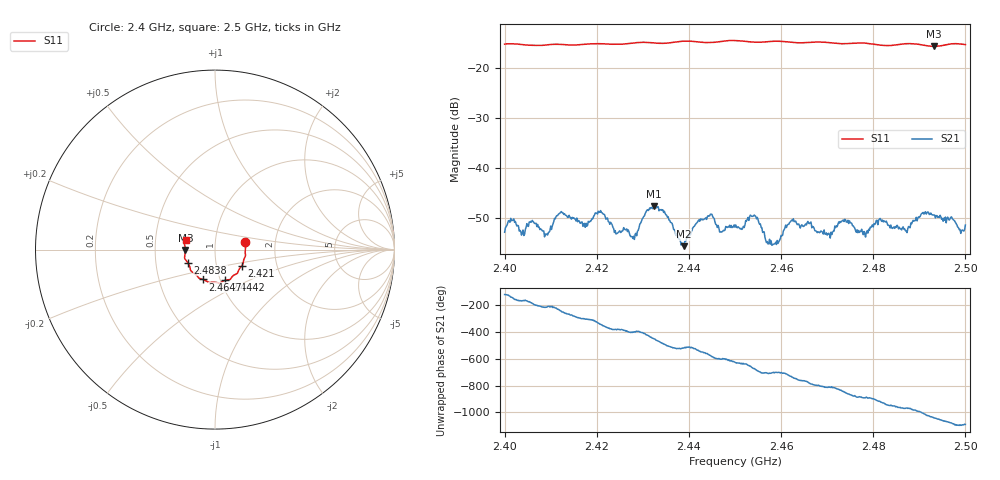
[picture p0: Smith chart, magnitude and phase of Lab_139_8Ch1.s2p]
# Hz S RI R 50
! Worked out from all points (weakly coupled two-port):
!   601 points, 2.4 GHz to 2.5 GHz, reference 50 ohm
!   highest |S21| = -47.67 dB at 2.4323 GHz (marker M1); lowest = -55.7 dB at 2.4388 GHz (marker M2)
!   lowest |S11| = -15.6 dB at 2.4932 GHz (marker M3), VSWR 1.40, Z = 35.8 - j0.105 ohm
!   |S11| at or under -10 dB: start of sweep to end of sweep
!   S12 and S22 are empty: the file has one direction only
!   S11 on the Smith chart (normalised r, x): 2.4 GHz: 1.40, +0.12; 2.421 GHz: 1.33, -0.24; 2.4442 GHz: 1.05, -0.37; 2.4647 GHz: 0.83, -0.28; 2.4838 GHz: 0.73, -0.11; 2.5 GHz: 0.72, +0.08
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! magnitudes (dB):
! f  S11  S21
! 2.4 GHz  -15.2  -52.9
! 2.4058 GHz  -15.4  -50.9
! 2.4092 GHz  -15.4  -53.3
! 2.4122 GHz  -15.3  -48.9
! 2.4167 GHz  -15.3  -50.8
! 2.421 GHz  -15.1  -48.9
! 2.4277 GHz  -15.0  -53.8
! 2.4323 GHz  -15.0  -47.7
! 2.4333 GHz  -15.0  -47.8
! 2.4388 GHz  -14.6  -55.7
! 2.4442 GHz  -14.9  -49.6
! 2.4472 GHz  -14.6  -52.8
! 2.45 GHz  -14.5  -51.9
! 2.4543 GHz  -14.8  -49.6
! 2.4585 GHz  -14.6  -55.3
! 2.4622 GHz  -14.8  -50.6
! 2.4647 GHz  -14.9  -51.6
! 2.4667 GHz  -14.8  -52.0
! 2.4833 GHz  -15.5  -51.5
! 2.4838 GHz  -15.5  -51.5
! 2.4932 GHz  -15.6  -49.4
! 2.5 GHz  -15.3  -51.5
